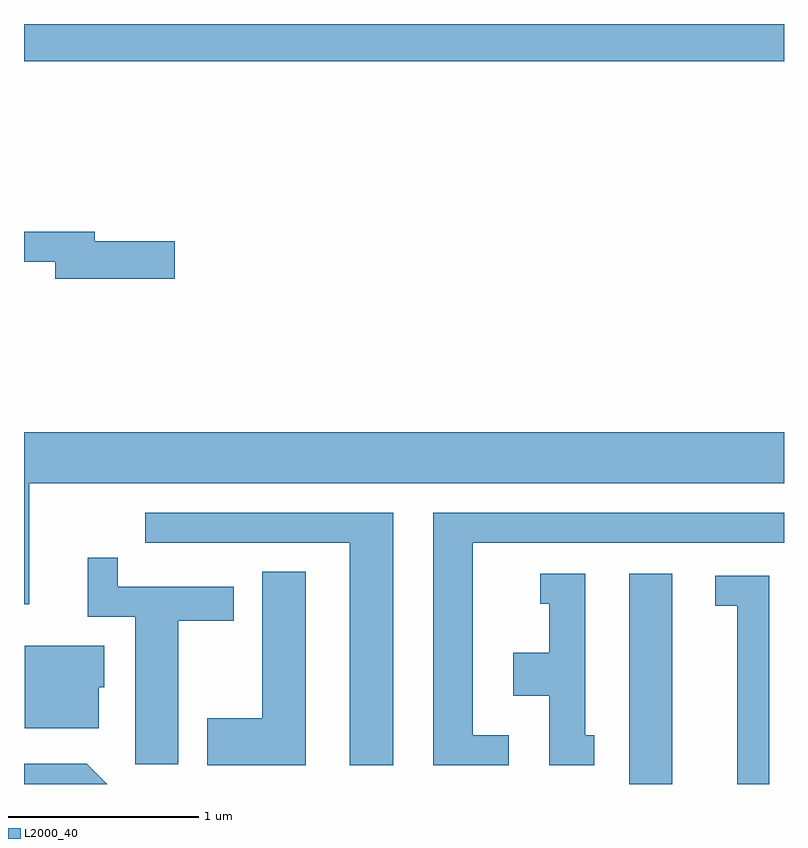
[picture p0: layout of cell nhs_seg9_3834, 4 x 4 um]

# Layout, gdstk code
import gdstk
lib = gdstk.Library(unit=1e-6, precision=1e-09)
def R(c, l, rs):  # rectangles x0, y0, x1, y1
    for r in rs: c.add(gdstk.rectangle(r[:2], r[2:], *l))
def P(c, l, *ps):  # polygons
    for p in ps: c.add(gdstk.Polygon(p, *l))
L2000_40 = (2000, 40)

nhs_seg9_3834 = lib.new_cell('nhs_seg9_3834')
R(nhs_seg9_3834, L2000_40, [(300.796,2012.432,301.024,2013.539), (297.611,2016.236,301.611,2016.432)])
P(nhs_seg9_3834, L2000_40, [(298.404,2015.289),(297.984,2015.289),(297.984,2015.339),(297.611,2015.339),(297.611,2015.181),(297.776,2015.181),(297.776,2015.091),(298.404,2015.091)],
  [(297.639,2014.016),(301.611,2014.016),(301.611,2014.284),(297.611,2014.284),(297.611,2013.378),(297.639,2013.378)],
  [(300.163,2012.689),(299.974,2012.689),(299.974,2013.701),(301.611,2013.701),(301.611,2013.859),(299.766,2013.859),(299.766,2012.531),(300.163,2012.531)],
  [(299.554,2013.859),(298.248,2013.859),(298.248,2013.701),(299.326,2013.701),(299.326,2012.531),(299.554,2012.531)],
  [(298.424,2013.291),(298.714,2013.291),(298.714,2013.469),(298.104,2013.469),(298.104,2013.623),(297.946,2013.623),(297.946,2013.311),(298.196,2013.311),(298.196,2012.536),(298.424,2012.536)],
  [(299.094,2013.549),(298.866,2013.549),(298.866,2012.779),(298.576,2012.779),(298.576,2012.531),(299.094,2012.531)],
  [(300.613,2012.689),(300.564,2012.689),(300.564,2013.539),(300.328,2013.539),(300.328,2013.381),(300.376,2013.381),(300.376,2013.124),(300.186,2013.124),(300.186,2012.896),(300.376,2012.896),(300.376,2012.531),(300.613,2012.531)],
  [(301.534,2013.529),(301.248,2013.529),(301.248,2013.371),(301.366,2013.371),(301.366,2012.432),(301.534,2012.432)],
  [(298.004,2012.941),(298.034,2012.941),(298.034,2013.159),(297.616,2013.159),(297.616,2012.726),(298.004,2012.726)],
  [(297.942,2012.539),(297.611,2012.539),(297.611,2012.432),(298.049,2012.432)])

lib.write_gds('nhs_seg9_3834.gds')
